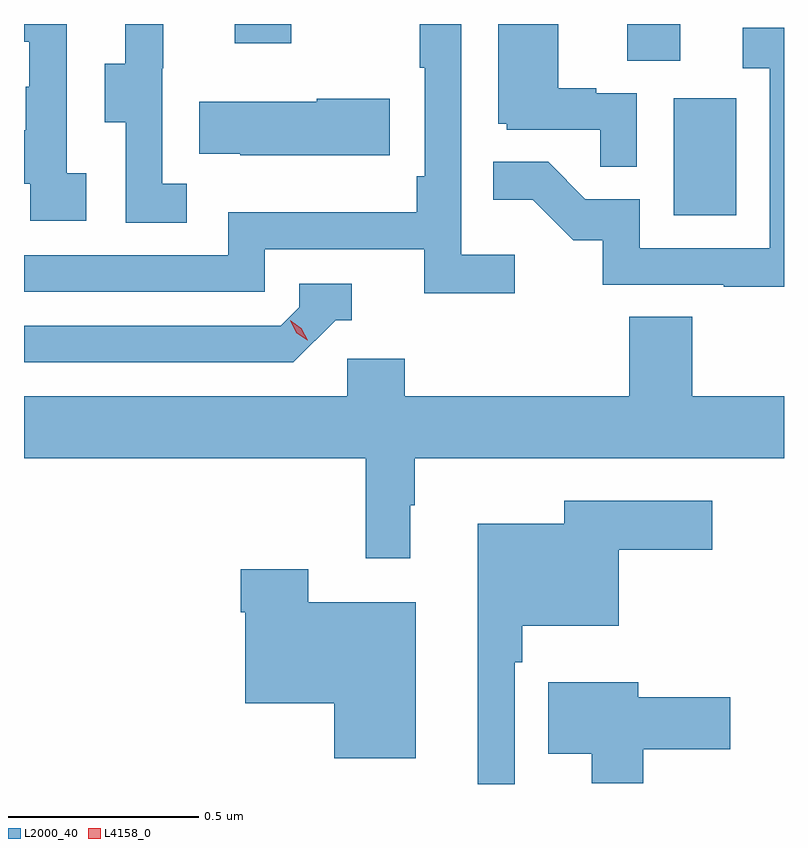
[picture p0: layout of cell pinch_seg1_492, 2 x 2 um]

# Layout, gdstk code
import gdstk
lib = gdstk.Library(unit=1e-6, precision=1e-09)
def R(c, l, rs):  # rectangles x0, y0, x1, y1
    for r in rs: c.add(gdstk.rectangle(r[:2], r[2:], *l))
def P(c, l, *ps):  # polygons
    for p in ps: c.add(gdstk.Polygon(p, *l))
L2000_40 = (2000, 40)
L4158_0 = (4158, 0)

pinch_seg1_492 = lib.new_cell('pinch_seg1_492')
R(pinch_seg1_492, L2000_40, [(1106.642,533.724,1106.806,534.031), (1106.519,534.13,1106.659,534.227), (1105.487,534.177,1105.635,534.227)])
P(pinch_seg1_492, L2000_40, [(1106.224,533.62),(1106.082,533.62),(1106.082,534.227),(1105.974,534.227),(1105.974,534.112),(1105.986,534.112),(1105.986,533.827),(1105.966,533.827),(1105.966,533.731),(1105.47,533.731),(1105.47,533.619),(1104.932,533.619),(1104.932,533.523),(1105.566,533.523),(1105.566,533.634),(1105.985,533.634),(1105.985,533.518),(1106.224,533.518)],
  [(1106.544,534.045),(1106.438,534.045),(1106.438,534.058),(1106.338,534.058),(1106.338,534.227),(1106.18,534.227),(1106.18,533.964),(1106.202,533.964),(1106.202,533.949),(1106.449,533.949),(1106.449,533.851),(1106.544,533.851)],
  [(1105.096,533.834),(1105.044,533.834),(1105.044,534.227),(1104.932,534.227),(1104.932,534.18),(1104.946,534.18),(1104.946,534.062),(1104.936,534.062),(1104.936,533.947),(1104.932,533.947),(1104.932,533.807),(1104.948,533.807),(1104.948,533.709),(1105.096,533.709)],
  [(1105.36,533.807),(1105.296,533.807),(1105.296,534.111),(1105.298,534.111),(1105.298,534.227),(1105.199,534.227),(1105.199,534.123),(1105.145,534.123),(1105.145,533.968),(1105.2,533.968),(1105.2,533.704),(1105.36,533.704)],
  [(1106.932,534.217),(1106.823,534.217),(1106.823,534.111),(1106.895,534.111),(1106.895,533.637),(1106.553,533.637),(1106.553,533.766),(1106.409,533.766),(1106.311,533.864),(1106.167,533.864),(1106.167,533.765),(1106.271,533.765),(1106.378,533.658),(1106.455,533.658),(1106.455,533.541),(1106.773,533.541),(1106.773,533.536),(1106.932,533.536)],
  [(1105.894,534.03),(1105.703,534.03),(1105.703,534.022),(1105.393,534.022),(1105.393,533.885),(1105.501,533.885),(1105.501,533.882),(1105.894,533.882)],
  [(1105.752,533.448),(1105.795,533.448),(1105.795,533.544),(1105.656,533.544),(1105.656,533.481),(1105.608,533.433),(1104.932,533.433),(1104.932,533.337),(1105.641,533.337)],
  [(1105.948,532.961),(1105.96,532.961),(1105.96,533.084),(1106.932,533.084),(1106.932,533.248),(1106.69,533.248),(1106.69,533.456),(1106.525,533.456),(1106.525,533.248),(1105.934,533.248),(1105.934,533.346),(1105.782,533.346),(1105.782,533.248),(1104.932,533.248),(1104.932,533.084),(1105.831,533.084),(1105.831,532.821),(1105.948,532.821)],
  [(1106.223,532.547),(1106.243,532.547),(1106.243,532.643),(1106.497,532.643),(1106.497,532.843),(1106.743,532.843),(1106.743,532.972),(1106.354,532.972),(1106.354,532.912),(1106.126,532.912),(1106.126,532.227),(1106.223,532.227)],
  [(1105.963,532.705),(1105.68,532.705),(1105.68,532.792),(1105.502,532.792),(1105.502,532.679),(1105.514,532.679),(1105.514,532.439),(1105.748,532.439),(1105.748,532.295),(1105.963,532.295)],
  [(1106.561,532.318),(1106.791,532.318),(1106.791,532.455),(1106.548,532.455),(1106.548,532.495),(1106.312,532.495),(1106.312,532.307),(1106.426,532.307),(1106.426,532.229),(1106.561,532.229)])
P(pinch_seg1_492, L4158_0, [(1105.678,533.395),(1105.648,533.414),(1105.632,533.446),(1105.632,533.447),(1105.632,533.447),(1105.662,533.427),(1105.679,533.395),(1105.679,533.395)])

lib.write_gds('pinch_seg1_492.gds')
